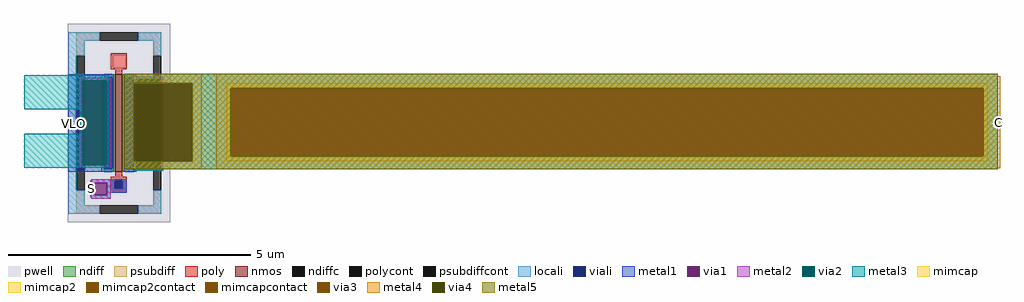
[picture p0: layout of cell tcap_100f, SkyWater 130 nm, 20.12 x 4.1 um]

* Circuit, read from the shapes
.subckt tcap_100f C S VLO
XM1 n1 S VLO VLO sky130_fd_pr__nfet_01v8 w=2 l=0.15
XC2 C n1 sky130_fd_pr__cap_mim_m3_1 w=15.7 l=1.6
XC3 n1 C sky130_fd_pr__cap_mim_m3_2 w=15.7 l=1.6
.ends

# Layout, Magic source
magic
tech sky130A
magscale 1 2
<< pwell >>
rect -53 637 369 767
rect -53 584 135 637
rect 189 584 369 637
rect -53 -53 369 584
<< nmos >>
rect 143 157 173 557
<< ndiff >>
rect 85 545 143 557
rect 85 169 97 545
rect 131 169 143 545
rect 85 157 143 169
rect 173 545 231 557
rect 173 169 185 545
rect 219 169 231 545
rect 173 157 231 169
<< ndiffc >>
rect 97 169 131 545
rect 185 169 219 545
<< psubdiff >>
rect -17 697 79 731
rect 237 697 333 731
rect -17 635 17 697
rect 299 635 333 697
rect -17 17 17 79
rect 299 17 333 79
rect -17 -17 79 17
rect 237 -17 333 17
<< psubdiffcont >>
rect 79 697 237 731
rect -17 79 17 635
rect 299 79 333 635
rect 79 -17 237 17
<< poly >>
rect 125 579 191 645
rect 143 557 173 579
rect 143 135 173 157
rect 125 119 191 135
rect 125 85 141 119
rect 175 85 191 119
rect 125 69 191 85
<< polycont >>
rect 141 85 175 119
<< locali >>
rect -51 697 79 731
rect 237 697 333 731
rect -51 635 17 697
rect -51 79 -17 635
rect 299 635 333 697
rect 97 545 131 561
rect 97 153 131 169
rect 185 545 219 561
rect 185 153 219 169
rect 125 85 141 119
rect 175 85 191 119
rect -51 17 17 79
rect 299 17 333 79
rect -51 -17 79 17
rect 237 -17 333 17
<< viali >>
rect -17 163 17 551
rect 97 169 131 545
rect 185 169 219 545
rect 141 85 175 119
<< metal1 >>
rect -51 551 137 557
rect -51 163 -17 551
rect 17 545 137 551
rect 17 533 97 545
rect 17 169 97 183
rect 131 169 137 545
rect 17 163 137 169
rect -51 157 137 163
rect 179 550 225 557
rect 179 545 340 550
rect 179 169 185 545
rect 219 540 340 545
rect 219 170 230 540
rect 330 170 340 540
rect 219 169 340 170
rect 179 160 340 169
rect 179 157 225 160
rect 45 119 191 125
rect 45 111 141 119
rect 45 59 59 111
rect 111 85 141 111
rect 175 85 191 119
rect 111 69 191 85
rect 111 59 125 69
rect 45 45 125 59
<< via1 >>
rect 7 183 17 533
rect 17 183 97 533
rect 97 183 117 533
rect 230 170 330 540
rect 59 59 111 111
<< metal2 >>
rect -3 533 127 543
rect -3 183 7 533
rect 117 183 127 533
rect -3 173 127 183
rect 220 540 340 550
rect 220 170 230 540
rect 330 170 340 540
rect 220 160 340 170
rect 45 120 125 125
rect 40 111 125 120
rect 40 59 59 111
rect 111 59 125 111
rect 40 50 125 59
rect 45 45 125 50
<< via2 >>
rect 7 183 107 533
rect 230 170 330 540
<< metal3 >>
rect -233 533 117 553
rect -233 413 7 533
rect -3 313 7 413
rect -233 183 7 313
rect 107 183 117 533
rect -233 173 117 183
rect 180 540 3780 560
rect 180 520 230 540
rect 330 520 3780 540
rect 180 200 220 520
rect 460 200 3780 520
rect 180 170 230 200
rect 330 170 3780 200
rect 180 166 3780 170
rect 220 160 340 166
<< via3 >>
rect 220 200 230 520
rect 230 200 330 520
rect 330 200 460 520
<< mimcap >>
rect 600 500 3740 520
rect 600 220 620 500
rect 3720 220 3740 500
rect 600 200 3740 220
<< mimcapcontact >>
rect 620 220 3720 500
<< metal4 >>
rect 180 520 500 560
rect 180 200 220 520
rect 460 200 500 520
rect 180 166 500 200
rect 560 550 3780 560
rect 560 500 3790 550
rect 560 220 620 500
rect 3720 220 3790 500
rect 560 170 3790 220
rect 560 166 3780 170
<< via4 >>
rect 220 200 460 520
<< mimcap2 >>
rect 600 500 3740 520
rect 600 220 620 500
rect 3720 220 3740 500
rect 600 200 3740 220
<< mimcap2contact >>
rect 620 220 3720 500
<< metal5 >>
rect 180 520 3780 560
rect 180 200 220 520
rect 460 500 3780 520
rect 460 220 620 500
rect 3720 220 3780 500
rect 460 200 3780 220
rect 180 166 3780 200
<< labels >>
rlabel metal1 -40 160 -20 550 1 VLO
rlabel metal2 40 50 50 120 1 S
rlabel metal4 3780 170 3790 550 7 C
<< end >>
